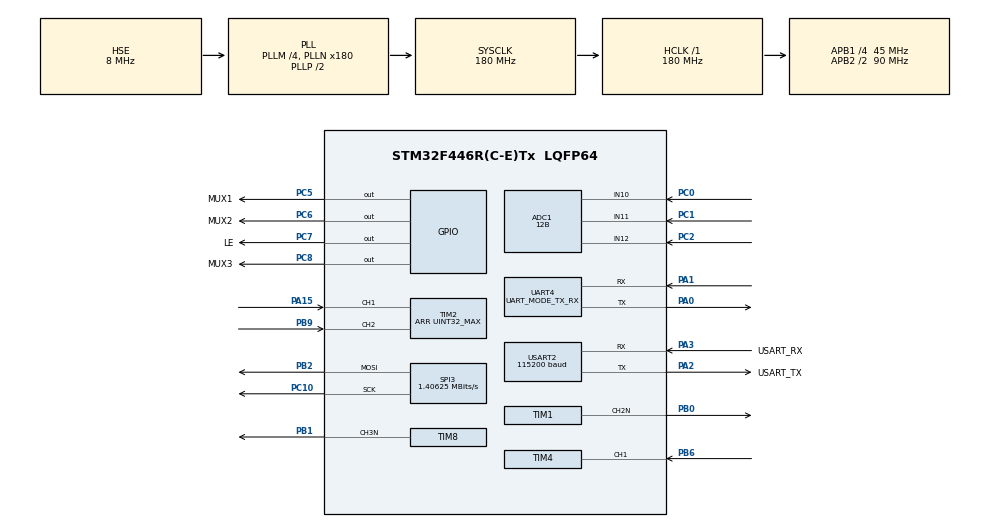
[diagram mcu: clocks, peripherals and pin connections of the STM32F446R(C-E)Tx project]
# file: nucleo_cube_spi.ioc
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ADC1.Channel-12\#ChannelRegularConversion=ADC_CHANNEL_10
ADC1.Channel-15\#ChannelRegularConversion=ADC_CHANNEL_11
ADC1.Channel-16\#ChannelRegularConversion=ADC_CHANNEL_12
ADC1.ClockPrescaler=ADC_CLOCK_SYNC_PCLK_DIV4
ADC1.ContinuousConvMode=DISABLE
ADC1.DMAContinuousRequests=ENABLE
ADC1.DataAlign=ADC_DATAALIGN_RIGHT
ADC1.DiscontinuousConvMode=DISABLE
ADC1.EOCSelection=ADC_EOC_SEQ_CONV
ADC1.EnableAnalogWatchDog=false
ADC1.ExternalTrigConvEdge=ADC_EXTERNALTRIGCONVEDGE_NONE
ADC1.InjNumberOfConversion=0
ADC1.NbrOfConversion=3
ADC1.NbrOfConversionFlag=1
ADC1.Rank-12\#ChannelRegularConversion=1
ADC1.Rank-15\#ChannelRegularConversion=2
ADC1.Rank-16\#ChannelRegularConversion=3
ADC1.Resolution=ADC_RESOLUTION_12B
ADC1.SamplingTime-12\#ChannelRegularConversion=ADC_SAMPLETIME_15CYCLES
ADC1.SamplingTime-15\#ChannelRegularConversion=ADC_SAMPLETIME_15CYCLES
ADC1.SamplingTime-16\#ChannelRegularConversion=ADC_SAMPLETIME_15CYCLES
ADC1.ScanConvMode=ENABLE
ADC1.master=1
Dma.ADC1.1.Direction=DMA_PERIPH_TO_MEMORY
Dma.ADC1.1.FIFOMode=DMA_FIFOMODE_DISABLE
Dma.ADC1.1.Instance=DMA2_Stream0
Dma.ADC1.1.MemDataAlignment=DMA_MDATAALIGN_HALFWORD
Dma.ADC1.1.MemInc=DMA_MINC_ENABLE
Dma.ADC1.1.Mode=DMA_CIRCULAR
Dma.ADC1.1.PeriphDataAlignment=DMA_PDATAALIGN_HALFWORD
Dma.ADC1.1.PeriphInc=DMA_PINC_DISABLE
Dma.ADC1.1.Priority=DMA_PRIORITY_LOW
Dma.Request0=UART4_RX
Dma.Request1=ADC1
Dma.UART4_RX.0.Direction=DMA_PERIPH_TO_MEMORY
Dma.UART4_RX.0.FIFOMode=DMA_FIFOMODE_DISABLE
Dma.UART4_RX.0.Instance=DMA1_Stream2
Dma.UART4_RX.0.MemDataAlignment=DMA_MDATAALIGN_BYTE
Dma.UART4_RX.0.MemInc=DMA_MINC_ENABLE
Dma.UART4_RX.0.Mode=DMA_CIRCULAR
Dma.UART4_RX.0.PeriphDataAlignment=DMA_PDATAALIGN_BYTE
Dma.UART4_RX.0.PeriphInc=DMA_PINC_DISABLE
Dma.UART4_RX.0.Priority=DMA_PRIORITY_LOW
Mcu.Family=STM32F4
Mcu.Name=STM32F446R(C-E)Tx
Mcu.Package=LQFP64
Mcu.UserConstants=UINT32_MAX,0xffffffff
NVIC.DMA1_Stream2_IRQn=true\:0\:0\:false\:false\:true
NVIC.DMA2_Stream0_IRQn=true\:0\:0\:false\:false\:true
NVIC.PriorityGroup=NVIC_PRIORITYGROUP_0
NVIC.TIM4_IRQn=true\:0\:0\:false\:false\:true
NVIC.TIM6_DAC_IRQn=true\:0\:0\:false\:false\:true
NVIC.TIM7_IRQn=true\:0\:0\:false\:false\:true
NVIC.UART4_IRQn=true\:0\:0\:false\:false\:true
NVIC.USART2_IRQn=true\:0\:0\:false\:false\:true
PA0-WKUP.Mode=Asynchronous
PA0-WKUP.Signal=UART4_TX
PA1.Mode=Asynchronous
PA1.Signal=UART4_RX
PA13.GPIO_Label=TMS
PA13.Signal=SYS_JTMS-SWDIO
PA14.GPIO_Label=TCK
PA14.Signal=SYS_JTCK-SWCLK
PA15.Signal=S_TIM2_CH1_ETR
PA2.GPIO_Label=USART_TX
PA2.Mode=Asynchronous
PA2.Signal=USART2_TX
PA3.GPIO_Label=USART_RX
PA3.Mode=Asynchronous
PA3.Signal=USART2_RX
PB0.Mode=PWM Generation2 CH2N
PB0.Signal=TIM1_CH2N
PB1.Mode=PWM Generation3 CH3N
PB1.Signal=TIM8_CH3N
PB2.Mode=TX_Only_Simplex_Unidirect_Master
PB2.Signal=SPI3_MOSI
PB3.GPIO_Label=SWO
PB3.Signal=SYS_JTDO-SWO
PB6.Signal=S_TIM4_CH1
PB9.Signal=S_TIM2_CH2
PC0.Signal=ADCx_IN10
PC1.Signal=ADCx_IN11
PC10.Mode=TX_Only_Simplex_Unidirect_Master
PC10.Signal=SPI3_SCK
PC14-OSC32_IN.Signal=RCC_OSC32_IN
PC15-OSC32_OUT.Signal=RCC_OSC32_OUT
PC2.Signal=ADCx_IN12
PC5.GPIO_Label=MUX1
PC5.Signal=GPIO_Output
PC6.GPIO_Label=MUX2
PC6.Signal=GPIO_Output
PC7.GPIO_Label=LE
PC7.Signal=GPIO_Output
PC8.GPIO_Label=MUX3
PC8.Signal=GPIO_Output
PH0-OSC_IN.Mode=HSE-External-Clock-Source
PH0-OSC_IN.Signal=RCC_OSC_IN
PH1-OSC_OUT.Mode=HSE-External-Clock-Source
PH1-OSC_OUT.Signal=RCC_OSC_OUT
ProjectManager.HeapSize=0x200
ProjectManager.StackSize=0x400
ProjectManager.TargetToolchain=SW4STM32
RCC.AHBFreq_Value=180000000
RCC.APB1CLKDivider=RCC_HCLK_DIV4
RCC.APB1Freq_Value=45000000
RCC.APB1TimFreq_Value=90000000
RCC.APB2CLKDivider=RCC_HCLK_DIV2
RCC.APB2Freq_Value=90000000
RCC.APB2TimFreq_Value=180000000
RCC.CortexFreq_Value=180000000
RCC.FLatency-AdvancedSettings=FLASH_LATENCY_5
RCC.HCLKFreq_Value=180000000
RCC.HSE_VALUE=8000000
RCC.HSI_VALUE=16000000
RCC.PLLM=4
RCC.PLLN=180
RCC.PLLSourceVirtual=RCC_PLLSOURCE_HSE
RCC.SYSCLKFreq_VALUE=180000000
RCC.SYSCLKSource=RCC_SYSCLKSOURCE_PLLCLK
RCC.USBFreq_Value=180000000
RCC.VCOOutputFreq_Value=360000000
SH.ADCx_IN10.0=ADC1_IN10,IN10
SH.ADCx_IN11.0=ADC1_IN11,IN11
SH.ADCx_IN12.0=ADC1_IN12,IN12
SH.S_TIM2_CH1_ETR.0=TIM2_CH1,Encoder_Interface
SH.S_TIM2_CH2.0=TIM2_CH2,Encoder_Interface
SH.S_TIM4_CH1.0=TIM4_CH1,Input_Capture1_from_TI1
SPI3.BaudRatePrescaler=SPI_BAUDRATEPRESCALER_32
SPI3.CalculateBaudRate=1.40625 MBits/s
SPI3.Mode=SPI_MODE_MASTER
TIM1.Channel-PWM\ Generation2\ CH2N=TIM_CHANNEL_2
TIM1.Period=64614
TIM1.Prescaler=38
TIM1.Pulse-PWM\ Generation2\ CH2N=7497
TIM2.EncoderMode=TIM_ENCODERMODE_TI12
TIM2.IC1Polarity=TIM_ICPOLARITY_RISING
TIM2.Period=UINT32_MAX
TIM4.ICPolarity_CH1=TIM_INPUTCHANNELPOLARITY_BOTHEDGE
TIM4.Period=64614
TIM4.Prescaler=38
TIM6.Period=2799
TIM6.Prescaler=8
TIM7.Period=9999
TIM7.Prescaler=89
TIM8.Channel-PWM\ Generation3\ CH3N=TIM_CHANNEL_3
TIM8.Period=64614
TIM8.Prescaler=38
TIM8.Pulse-PWM\ Generation3\ CH3N=6932
UART4.Mode=UART_MODE_TX_RX
USART2.BaudRate=115200
VP_TIM6_VS_ClockSourceINT.Mode=Enable_Timer
VP_TIM7_VS_ClockSourceINT.Mode=Enable_Timer
board=NUCLEO-F446RE

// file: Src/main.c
/**
  ******************************************************************************
  * File Name          : main.c
  * Description        : Main program body
  ******************************************************************************
  *
  * COPYRIGHT(c) 2017 STMicroelectronics
  *
  * Redistribution and use in source and binary forms, with or without modification,
  * are permitted provided that the following conditions are met:
  *   1. Redistributions of source code must retain the above copyright notice,
  *      this list of conditions and the following disclaimer.
  *   2. Redistributions in binary form must reproduce the above copyright notice,
  *      this list of conditions and the following disclaimer in the documentation
  *      and/or other materials provided with the distribution.
  *   3. Neither the name of STMicroelectronics nor the names of its contributors
  *      may be used to endorse or promote products derived from this software
  *      without specific prior written permission.
  *
  * THIS SOFTWARE IS PROVIDED BY THE COPYRIGHT HOLDERS AND CONTRIBUTORS "AS IS"
  * AND ANY EXPRESS OR IMPLIED WARRANTIES, INCLUDING, BUT NOT LIMITED TO, THE
  * IMPLIED WARRANTIES OF MERCHANTABILITY AND FITNESS FOR A PARTICULAR PURPOSE ARE
  * DISCLAIMED. IN NO EVENT SHALL THE COPYRIGHT HOLDER OR CONTRIBUTORS BE LIABLE
  * FOR ANY DIRECT, INDIRECT, INCIDENTAL, SPECIAL, EXEMPLARY, OR CONSEQUENTIAL
  * DAMAGES (INCLUDING, BUT NOT LIMITED TO, PROCUREMENT OF SUBSTITUTE GOODS OR
  * SERVICES; LOSS OF USE, DATA, OR PROFITS; OR BUSINESS INTERRUPTION) HOWEVER
  * CAUSED AND ON ANY THEORY OF LIABILITY, WHETHER IN CONTRACT, STRICT LIABILITY,
  * OR TORT (INCLUDING NEGLIGENCE OR OTHERWISE) ARISING IN ANY WAY OUT OF THE USE
  * OF THIS SOFTWARE, EVEN IF ADVISED OF THE POSSIBILITY OF SUCH DAMAGE.
  *
  ******************************************************************************
  */
#include "main.h"
#include "stm32f4xx_hal.h"
#include "adc.h"
#include "dma.h"
#include "spi.h"
#include "tim.h"
#include "usart.h"
#include "gpio.h"

/* USER CODE BEGIN Includes */
#include "stdbool.h"
#include "stm32f4xx_hal_tim.h"
#include "inttypes.h"
//MotorPWM
#define MOTOR_0MPERS 6932
#define MOTOR_1P7MPERS 7362
#define MOTOR_3MPERS 7578 //Nem ennyi
#define MOTOR_6MPERS 8224 //Nem biztos h ennyi

#define SEB_LASSU_DEFAULT 700//1100
#define SEB_GYORS_DEFAULT 1200//3300

//Szurok
#define FILTER_DEPTH 16
#define VELOCITY_FILTER_DEPTH 4
//Szervo
#define SERVO_KOZEP 6914
#define SERVO_BAL 5644//5944
#define SERVO_JOBB 7883
//P szab
#define KC 1

//Szervo ertekek:
/*Elozo meres: 6000, 7497, 9000
 Jelenlegi: 5829, 6766, 7638*/

//PD szab
#define L_FROM_ROTATION_AXIS 220 //Vonalszenzor tavolsaga a forgastengelytol [mm]
#define TD_COEFF_FAST 105		 //Coefficiens 10-szerese a TD-hez
#define TD_COEFF_SLOW 20
#define KD_FAST -2				//Kd 10-szerese a szabalyzohoz
#define KD_SLOW -13//-11
#define TSRECIP	333				//Ts mintavetelezesi ido reciproka

//Linetype defines
#define NOLINE 0
#define ONELINE 1
#define TWOLINE 2
#define THREELINE 3
#define LINERROR 10
//Lineobject observing state defines
#define NORMAL 0
#define UNKNOWN 1
#define END_FAST 2
#define ONESTRIPE 3
#define TWOSTRIPE 4
#define START_FAST 5
//PD parameter pair identifiers
#define PD_FAST 1
#define PD_SLOW 2
//velocity defines
#define FAST 10
#define SLOW 20

/* USER CODE END Includes */

/* USER CODE BEGIN PV */
/* Private variables ---------------------------------------------------------*/
 volatile bool adcvalid=false;
 volatile bool adcwaitdone=false;
 volatile bool dovelocitymeasurement=false;
 volatile uint32_t actualencoderval=0;
 volatile uint32_t actualmotorinput=0;
 volatile uint32_t previousmotorinput=0;
 volatile bool endrxuart=false;
 volatile uint32_t pData[2]={0,0};
 uint16_t adcmeasuredvalues[3];
 uint32_t WMAfilterarray[FILTER_DEPTH]; //vonalpoziciohoz
 //PD parameterei
uint32_t SEB_LASSU=SEB_LASSU_DEFAULT;
uint32_t SEB_GYORS=SEB_GYORS_DEFAULT;
 int32_t KD=-11;
 int32_t TD_COEFF=20;
 uint8_t velocity_state;
 uint8_t space=32;
 uint8_t endline=10;
 uint8_t tab = 9;
 uint8_t CR = 13;
 uint32_t timestamp=0;

 /*Encoder vars*/
 uint32_t encoder1;
 HAL_TIM_StateTypeDef state;
 uint32_t encoderprev=0;
 int32_t encoderdiff;
 uint32_t dir;
 int32_t velocity;
 int32_t filteredvelocity;
 int32_t filteredvelocitydiff;
 int32_t velocityarray[VELOCITY_FILTER_DEPTH]={0,0,0,0}; //Kis csalas, akkor jo, ha VELOCITY_FILTER_DEPTH = 4
 uint32_t velocityabs;

/* USER CODE END PV */

void SystemClock_Config(void);
void Error_Handler(void);

/* USER CODE BEGIN PFP */
/* Private function prototypes -----------------------------------------------*/
uint8_t send8bit_to_uart(UART_HandleTypeDef* huart, uint8_t* data,uint32_t Timeout);
uint8_t send32bitdecimal_to_uart(UART_HandleTypeDef* huart, uint32_t* data,uint32_t Timeout);
uint8_t send16bitdecimal_to_uart(UART_HandleTypeDef* huart, uint16_t* data,uint32_t Timeout);
uint8_t send8bitdecimal_to_uart(UART_HandleTypeDef* huart, uint8_t* data,uint32_t Timeout);
uint8_t sendadcvals_to_uart(UART_HandleTypeDef* huart, uint16_t* data1,uint16_t* data2, uint16_t* data3,uint32_t Timeout);
uint8_t sendlineregisters_to_uart(UART_HandleTypeDef* huart, uint8_t* data1,uint8_t* data2, uint8_t* data3,uint32_t Timeout);
void medianfilterW3(uint16_t* data1,uint16_t* data2, uint16_t* data3);
uint32_t getposition(uint32_t* positionreg, uint16_t* adcfiltervals1, uint16_t* adcfiltervals2, uint16_t* adcfiltervals3);
uint8_t getlinetype(uint8_t* linetype, uint16_t* adcvals1, uint16_t* adcvals2, uint16_t* adcvals3, uint16_t* threshold);
void WMAfilter(int32_t* filteredval, int32_t* newelement, int32_t* array, uint32_t filter_depth);
void initWMAfilterarray();
uint8_t handleWMAfilter(uint32_t* filteredposition, uint32_t* newelement);
void szervoPszabalyozo(int16_t vonalpozicio);
void szervoPDszabalyozo(uint32_t vonalpozicio, int32_t sebesseg);
void sebessegto(int32_t mmpersec);
void setPD(uint32_t PD_type);
uint32_t reverse_byte_order_32(uint32_t value);
void dili_telemetria(UART_HandleTypeDef *huart, uint32_t linestatus, uint32_t velocitystatus, uint32_t position, uint32_t timestamp, int32_t x, int32_t v, int32_t a,  uint32_t Timeout);
void handle_QT_command(uint32_t* pData);

/* USER CODE END PFP */

/* USER CODE BEGIN 0 */
void HAL_UART_RxCpltCallback(UART_HandleTypeDef *huart)
{
	if(huart->Instance == UART4)
	{
		//HAL_UART_Transmit(&huart4,pData, sizeof(char), 1000 ); teszthez kellett
		endrxuart=true; //telemetria adatok fogadasahoz callback IT
	}

}
void HAL_ADC_ConvCpltCallback(ADC_HandleTypeDef* hadc)
{
	adcvalid = true;
}

void HAL_TIM_PeriodElapsedCallback(TIM_HandleTypeDef* htim)
{
	/*if (htim->Instance == TIM6)
	{
		adcwaitdone = true;
	}*/
	if(htim->Instance == TIM7)
	{
		timestamp++;
		actualencoderval=HAL_TIM_ReadCapturedValue(&htim2, TIM_CHANNEL_1);
		dovelocitymeasurement=true;
	}
}
void HAL_TIM_IC_CaptureCallback(TIM_HandleTypeDef* htim)
{
	if (htim->Instance == TIM4)
	{
		previousmotorinput = actualmotorinput;
		actualmotorinput = HAL_TIM_ReadCapturedValue(&htim4,TIM_CHANNEL_1);
		__HAL_TIM_SET_COUNTER(&htim4,0);
	}
}

/* USER CODE END 0 */

int main(void)
{

  /* MCU Configuration----------------------------------------------------------*/

  /* Reset of all peripherals, Initializes the Flash interface and the Systick. */
  HAL_Init();

  /* Configure the system clock */
  SystemClock_Config();

  /* Initialize all configured peripherals */
  MX_GPIO_Init();
  MX_DMA_Init();
  MX_ADC1_Init();
  MX_USART2_UART_Init();
  MX_SPI3_Init();
  MX_TIM1_Init();
  MX_TIM2_Init();
  MX_TIM6_Init();
  MX_TIM7_Init();
  MX_UART4_Init();
  MX_TIM8_Init();
  MX_TIM4_Init();

  /* USER CODE BEGIN 2 */

  /*Initialize variables for main()*/
  uint8_t stop = 0;
  uint8_t stopm1 = 0;
  uint8_t spidata = 0b00000010;
  uint8_t endline=10;
  uint8_t CR=13;
  uint8_t tab=9;
  uint8_t space=32;
  uint8_t minusz=45;
  uint8_t line_register1=0;			//Tarolja hogy hol erzekelnek vonalat a TCRT-k
  uint8_t line_register2=0;
  uint8_t line_register3=0;
  uint8_t line_count=0;				//Szamolja hogy hany TCRT erzekel vonalat
  uint8_t linetype;
  uint16_t adcvalregister1[8];
  uint16_t adcvalregister2[8];
  uint16_t adcvalregister3[8];
  uint16_t adcfilterregister1[8] = {0,0,0,0,0,0,0,0};
  uint16_t adcfilterregister2[8] = {0,0,0,0,0,0,0,0};
  uint16_t adcfilterregister3[8] = {0,0,0,0,0,0,0,0};
  uint16_t threshold=1200; //TODO 1000-1100? //Vedekezni kell a koszok ellen, ezert nagyobb
  uint16_t thresholdforlinetype=800; //A vonalakat viszont eszre kell venni
  uint8_t i=0;
  uint32_t position=0;
  uint32_t filteredposition=0;
  uint32_t prevfilteredposition=0;
  int32_t Pszabalyozopozicio=0;
  //uint32_t timestamp=0;
  uint8_t string[20]={0,0,0,0,0,0,0,0,0,0,0,0,0,0,0,0,0,0,0,0};
  int32_t motorpulsePWM;
  initWMAfilterarray();
  HAL_TIM_Base_Start_IT(&htim7);
  HAL_TIM_Encoder_Start(&htim2, TIM_CHANNEL_1);
  HAL_TIM_IC_Start_IT(&htim4,TIM_CHANNEL_1);
  HAL_TIMEx_PWMN_Start(&htim1, TIM_CHANNEL_2);
  HAL_TIMEx_PWMN_Start(&htim8, TIM_CHANNEL_3);
  HAL_Delay(5000);
  //sebessegto((int32_t)(SEB_LASSU+600));
  //velocity_state=SLOW;
  //__HAL_TIM_SET_COMPARE(&htim1,TIM_CHANNEL_2 , SERVO_KOZEP);
  //HAL_TIM_PWM_Start(&htim1,TIM_CHANNEL_2);

  /* USER CODE END 2 */

  /* Infinite loop */
  /* USER CODE BEGIN WHILE */
  //HAL_UART_Receive_DMA(&huart4, (uint8_t*)pData, (2*sizeof(uint32_t)));	//Telemetria parancsok fogadása - konvencio: 2db uint32-t kapunk, elso: command ID, masodik: adat, ha van

  while (1)
  {
  /* USER CODE END WHILE */

  /* USER CODE BEGIN 3 */
	  /*Deadman emergency brake*/
	  if(((actualmotorinput < previousmotorinput) ? actualmotorinput : previousmotorinput) < 4000)
	  {
		  stop = 1;
	  }
	  else
	  {
		  stop = 0;
	  }
	  /*Encoder test*/

	  /*HAL_TIM_Encoder_Start(&htim2, TIM_CHANNEL_1);
	  while(1)
	  {
		  state = HAL_TIM_Encoder_GetState(&htim2);

		  encoder1 = HAL_TIM_ReadCapturedValue(&htim2, TIM_CHANNEL_1);
		  dir = __HAL_TIM_DIRECTION_STATUS(&htim2);
		  encoderdiff=encoder1-encoderprev;
		  velocity=((encoderdiff*1000)/743); //v[mm/s]
		  encoderprev=encoder1;
		  sprintf(string, "%"PRId32 "\n\r", velocity);
		  HAL_UART_Transmit(&huart2, string, sizeof(string), 10000);
		  HAL_Delay(100);
	  }*/

	  /*SPI communication*/
	  /*If only 3 sequence is sent, then something is wrong with the bits (not the good bits are received by the LED drivers.
	   Dont know, whats the problem.*/

	  /*for(int q=0; q<3; q++)
	  {
		  HAL_SPI_Transmit(&hspi3,&spidata,1,100);
	  }*/

	  /*Valami nem oke a LE outputtal. Ha kiveszem az utolso 2 hal-delay(1)-et, akkor nem vilagit az uccso(elso) TCRT. Ha az egyik bent van a kodban, akkor hol vilaghit, hol nem. Ha mindketto akkor ok.*/
	  /*Elobbi megoldottnak tunik*/
	  /*LE signal output*/
	  //HAL_GPIO_WritePin(LE_GPIO_Port,LE_Pin,GPIO_PIN_SET);
	  //HAL_GPIO_WritePin(LE_GPIO_Port,LE_Pin,GPIO_PIN_RESET);

	  /*adcwaitdone=false;
	  __HAL_TIM_SET_COUNTER(&htim6, 0);
	  HAL_TIM_Base_Start_IT(&htim6);*/
	  /*TCRT:280usec varakozas kezdete---------------------------------------------------------------------*/

	  //if(spidata==0b00000001)
	  //{
		  // medianfilterW3(adcvalregister1, adcvalregister2, adcvalregister3); //kicsit thresholdal jo lehet
		  //getlinetype(&linetype, adcvalregister1, adcvalregister2, adcvalregister3, &thresholdforlinetype);//-----------------------------------

		  //sendlineregisters_to_uart(&huart2, &line_register1, &line_register2, &line_register3, 1000);
		  //sendadcvals_to_uart(&huart2, adcvalregister1, adcvalregister2, adcvalregister3, 1000);

		  // medianfilterW3(adcfilterregister1, adcfilterregister2, adcfilterregister3); //Medianhoz kisebb threshold
		  //getposition(&position, adcfilterregister1, adcfilterregister2, adcfilterregister3);
		 /* HAL_UART_Transmit(&huart4,&endline, sizeof(uint8_t), 100000);
		  HAL_UART_Transmit(&huart4,&CR, sizeof(uint8_t), 100000);*/
		  //send8bitdecimal_to_uart(&huart2, &linetype, 1000);
		//	  HAL_UART_Transmit(&huart2,&endline, sizeof(uint8_t), 100000);
		//	  HAL_UART_Transmit(&huart2,&CR, sizeof(uint8_t), 100000);
		 // sendadcvals_to_uart(&huart2, adcfilterregister1, adcfilterregister2, adcfilterregister3, 10000);

		  //if(!position) //Szaturacional==vonalelhagyasnal uccso erteket jegyezze meg.
			  //position=prevfilteredposition;
		  //else
			  //prevfilteredposition=position;

		  //handleWMAfilter(&filteredposition, &position);				//pozicio idobeli szurese

		  if(dovelocitymeasurement) //v=[mm/s], delta t = 10ms
		  {//valami szamitas hibas, wma filter furi.
			  state = HAL_TIM_Encoder_GetState(&htim2);
			  if(state==HAL_TIM_STATE_READY)
			  {
				  //dir = __HAL_TIM_DIRECTION_STATUS(&htim2);
				  encoder1=actualencoderval;
				  encoderdiff=encoder1-encoderprev;
				  //velocity=((encoderdiff*10000)/743); //v[mm/s]
				  //filteredvelocitydiff=-filteredvelocity;
				  //WMAfilter(&filteredvelocity, &velocity, velocityarray, VELOCITY_FILTER_DEPTH);
				  /*if(filteredvelocity>=0)
					  velocityabs = filteredvelocity;
				  else
					  velocityabs = -filteredvelocity;*/
				  encoderprev=encoder1;
				  //filteredvelocitydiff+=filteredvelocity;
				/*  for(int q=0; q<20; q++)
					  string[q]=0;
				  sprintf(string, "%"PRId32 "\t\n\r", filteredvelocity);
				  HAL_UART_Transmit(&huart2, string, sizeof(string), 10000);
				  HAL_UART_Transmit(&huart4, string, sizeof(string), 10000);*/
				  //HAL_UART_Transmit(&huart2,&endline, sizeof(uint8_t), 100000);
				  //HAL_UART_Transmit(&huart2,&CR, sizeof(uint8_t), 100000);
			  }
			  else
			  {
				  //error handling...
			  }
			  dovelocitymeasurement=false;
			  //timestamp++;
			  if(timestamp == 1000)
			  {
				motorpulsePWM = 6932;
				if (!stop)
					__HAL_TIM_SET_COMPARE(&htim8, TIM_CHANNEL_3, (motorpulsePWM));
			  }
			  if(timestamp == 2000)
			  {
				motorpulsePWM = 7032;
				if (!stop)
					__HAL_TIM_SET_COMPARE(&htim8, TIM_CHANNEL_3, (motorpulsePWM));
			  }
			  if(timestamp == 3000)
			  {
				motorpulsePWM = 6932;
				if (!stop)
					__HAL_TIM_SET_COMPARE(&htim8, TIM_CHANNEL_3, (motorpulsePWM));
			  }
			  if(timestamp == 4000)
			  {
			  motorpulsePWM = 7132;
			  if (!stop)
			  	__HAL_TIM_SET_COMPARE(&htim8, TIM_CHANNEL_3, (motorpulsePWM));
			  }
			  if(timestamp == 5000)
			  {
			  motorpulsePWM = 6932;
			  if (!stop)
			  	__HAL_TIM_SET_COMPARE(&htim8, TIM_CHANNEL_3, (motorpulsePWM));
			  }
			  if(timestamp == 6000)
			  {
			  motorpulsePWM = 7232;
			  if (!stop)
			  	__HAL_TIM_SET_COMPARE(&htim8, TIM_CHANNEL_3, (motorpulsePWM));
			  }
			  if(timestamp == 7000)
			  {
			  motorpulsePWM = 6932;
			  if (!stop)
			  	__HAL_TIM_SET_COMPARE(&htim8, TIM_CHANNEL_3, (motorpulsePWM));
			  }
			  if(timestamp == 8000)
			  {
			  motorpulsePWM = 7332;
			  if (!stop)
			  	__HAL_TIM_SET_COMPARE(&htim8, TIM_CHANNEL_3, (motorpulsePWM));
			  }
			  if(timestamp == 9000)
			  {
			  motorpulsePWM = 6932;
			  if (!stop)
			  	__HAL_TIM_SET_COMPARE(&htim8, TIM_CHANNEL_3, (motorpulsePWM));
			  }
			  if(timestamp == 10000)
			  {
			  motorpulsePWM = 7432;
			  if (!stop)
			  	__HAL_TIM_SET_COMPARE(&htim8, TIM_CHANNEL_3, (motorpulsePWM));
			  }
			  if(timestamp == 11000)
			  {
			  motorpulsePWM = 6932;
			  if (!stop)
			  	__HAL_TIM_SET_COMPARE(&htim8, TIM_CHANNEL_3, (motorpulsePWM));
			  }
			  if(timestamp == 12000)
			  {
			  motorpulsePWM = 7532;
			  if (!stop)
			  	__HAL_TIM_SET_COMPARE(&htim8, TIM_CHANNEL_3, (motorpulsePWM));
			  }
			  if(timestamp == 13000)
			  {
			  motorpulsePWM = 6932;
			  if (!stop)
			  	__HAL_TIM_SET_COMPARE(&htim8, TIM_CHANNEL_3, (motorpulsePWM));
			  }
			  if(timestamp == 14000)
			  {
			  motorpulsePWM = 7632;
			  if (!stop)
			  	__HAL_TIM_SET_COMPARE(&htim8, TIM_CHANNEL_3, (motorpulsePWM));
			  }
			  if(timestamp == 15000)
			  {
			  motorpulsePWM = 6932;
			  if (!stop)
			  	__HAL_TIM_SET_COMPARE(&htim8, TIM_CHANNEL_3, (motorpulsePWM));
			  }
			  if(timestamp == 16000)
			  {
			  motorpulsePWM = 7732;
			  if (!stop)
			  	__HAL_TIM_SET_COMPARE(&htim8, TIM_CHANNEL_3, (motorpulsePWM));
			  }
			  if(timestamp == 17000)
			  {
			  motorpulsePWM = 6932;
			  if (!stop)
			  	__HAL_TIM_SET_COMPARE(&htim8, TIM_CHANNEL_3, (motorpulsePWM));
			  }
			  if(timestamp == 18000)
			  {
			  motorpulsePWM = 7832;
			  if (!stop)
			  	__HAL_TIM_SET_COMPARE(&htim8, TIM_CHANNEL_3, (motorpulsePWM));
			  }
			  if(timestamp == 19000)
			  {
			  motorpulsePWM = 6932;
			  if (!stop)
			  	__HAL_TIM_SET_COMPARE(&htim8, TIM_CHANNEL_3, (motorpulsePWM));
			  }
			  if(timestamp == 20000)
			  {
			  motorpulsePWM = 7932;
			  if (!stop)
			  	__HAL_TIM_SET_COMPARE(&htim8, TIM_CHANNEL_3, (motorpulsePWM));
			  }
			  if(timestamp == 21000)
			  {
			  motorpulsePWM = 6932;
			  if (!stop)
			  	__HAL_TIM_SET_COMPARE(&htim8, TIM_CHANNEL_3, (motorpulsePWM));
			  }
			  if(timestamp == 22000)
			  {
			  motorpulsePWM = 8032;
			  if (!stop)
			  	__HAL_TIM_SET_COMPARE(&htim8, TIM_CHANNEL_3, (motorpulsePWM));
			  }
			  if(timestamp == 23000)
			  {
			  motorpulsePWM = 6932;
			  if (!stop)
			  	__HAL_TIM_SET_COMPARE(&htim8, TIM_CHANNEL_3, (motorpulsePWM));
			  }
			  if(timestamp == 24000)
			  {
			  motorpulsePWM = 8132;
			  if (!stop)
			  	__HAL_TIM_SET_COMPARE(&htim8, TIM_CHANNEL_3, (motorpulsePWM));
			  }
			  if(timestamp == 25000)
			  {
			  motorpulsePWM = 6932;
			  if (!stop)
			  	__HAL_TIM_SET_COMPARE(&htim8, TIM_CHANNEL_3, (motorpulsePWM));
			  }
			  if(timestamp == 26000)
			  {
			  motorpulsePWM = 8232;
			  if (!stop)
			  	__HAL_TIM_SET_COMPARE(&htim8, TIM_CHANNEL_3, (motorpulsePWM));
			  }
			  if(timestamp == 27000)
			  {
			  motorpulsePWM = 6932;
			  if (!stop)
			  	__HAL_TIM_SET_COMPARE(&htim8, TIM_CHANNEL_3, (motorpulsePWM));
			  }
			  if(timestamp == 28000)
			  {
			  motorpulsePWM = 8332;
			  if (!stop)
			  	__HAL_TIM_SET_COMPARE(&htim8, TIM_CHANNEL_3, (motorpulsePWM));
			  }
			  if(timestamp == 29000)
			  {
			  motorpulsePWM = 6932;
			  if (!stop)
			  	__HAL_TIM_SET_COMPARE(&htim8, TIM_CHANNEL_3, (motorpulsePWM));
			  }
			  if(timestamp == 30000)
			  {
			  motorpulsePWM = 8432;
			  if (!stop)
			  	__HAL_TIM_SET_COMPARE(&htim8, TIM_CHANNEL_3, (motorpulsePWM));
			  }
			  if(timestamp == 31000)
			  {
			  motorpulsePWM = 6932;
			  if (!stop)
			  	__HAL_TIM_SET_COMPARE(&htim8, TIM_CHANNEL_3, (motorpulsePWM));
			  }
			  if(timestamp == 32000)
			  {
			  motorpulsePWM = 8532;
			  if (!stop)
			  	__HAL_TIM_SET_COMPARE(&htim8, TIM_CHANNEL_3, (motorpulsePWM));
			  }
			  if(timestamp == 33000)
			  {
			  motorpulsePWM = 6932;
			  if (!stop)
			  	__HAL_TIM_SET_COMPARE(&htim8, TIM_CHANNEL_3, (motorpulsePWM));
			  }
			  if(timestamp == 34000)
			  {
			  motorpulsePWM = 8632;
			  if (!stop)
			  	__HAL_TIM_SET_COMPARE(&htim8, TIM_CHANNEL_3, (motorpulsePWM));
			  }
			  if(timestamp == 35000)
			  {
			  motorpulsePWM = 6932;
			  if (!stop)
			  	__HAL_TIM_SET_COMPARE(&htim8, TIM_CHANNEL_3, (motorpulsePWM));
			  }
			  if(timestamp == 36000)
			  {
			  motorpulsePWM = 8732;
			  if (!stop)
			  	__HAL_TIM_SET_COMPARE(&htim8, TIM_CHANNEL_3, (motorpulsePWM));
			  }
			  if(timestamp == 37000)
			  {
			  motorpulsePWM = 6932;
			  if (!stop)
			  	__HAL_TIM_SET_COMPARE(&htim8, TIM_CHANNEL_3, (motorpulsePWM));
			  }
			  if(timestamp == 38000)
			  {
			  motorpulsePWM = 8832;
			  if (!stop)
			  	__HAL_TIM_SET_COMPARE(&htim8, TIM_CHANNEL_3, (motorpulsePWM));
			  }
			  if(timestamp == 39000)
			  {
			  motorpulsePWM = 6932;
			  if (!stop)
			  	__HAL_TIM_SET_COMPARE(&htim8, TIM_CHANNEL_3, (motorpulsePWM));
			  }
			  if(timestamp == 40000)
			  {
			  motorpulsePWM = 8932;
			  if (!stop)
			  	__HAL_TIM_SET_COMPARE(&htim8, TIM_CHANNEL_3, (motorpulsePWM));
			  }
			  if(timestamp == 41000)
			  {
			  motorpulsePWM = 6932;
			  if (!stop)
			  	__HAL_TIM_SET_COMPARE(&htim8, TIM_CHANNEL_3, (motorpulsePWM));
			  }
			  if(timestamp == 42000)
			  {
			  motorpulsePWM = 9032;
			  if (!stop)
			  	__HAL_TIM_SET_COMPARE(&htim8, TIM_CHANNEL_3, (motorpulsePWM));
			  }
			  if(timestamp == 43000)
			  {
			  motorpulsePWM = 6932;
			  if (!stop)
			  	__HAL_TIM_SET_COMPARE(&htim8, TIM_CHANNEL_3, (motorpulsePWM));
			  }
			  if(timestamp == 44000)
			  {
			  motorpulsePWM = 9132;
			  if (!stop)
			  	__HAL_TIM_SET_COMPARE(&htim8, TIM_CHANNEL_3, (motorpulsePWM));
			  }
			  if(timestamp == 45000)
			  {
			  motorpulsePWM = 6932;
			  if (!stop)
			  	__HAL_TIM_SET_COMPARE(&htim8, TIM_CHANNEL_3, (motorpulsePWM));
			  }
			  if(timestamp == 46000)
			  {
			  motorpulsePWM = 9232;
			  if (!stop)
			  	__HAL_TIM_SET_COMPARE(&htim8, TIM_CHANNEL_3, (motorpulsePWM));
			  }
			  if(timestamp == 47000)
			  {
			  motorpulsePWM = 6932;
			  if (!stop)
			  	__HAL_TIM_SET_COMPARE(&htim8, TIM_CHANNEL_3, (motorpulsePWM));
			  }
			  if(timestamp == 48000)
			  {
			  motorpulsePWM = 9332;
			  if (!stop)
			  	__HAL_TIM_SET_COMPARE(&htim8, TIM_CHANNEL_3, (motorpulsePWM));
			  }
			  if(timestamp == 49000)
			  {
			  motorpulsePWM = 6932;
			  if (!stop)
			  	__HAL_TIM_SET_COMPARE(&htim8, TIM_CHANNEL_3, (motorpulsePWM));
			  }
			  if(timestamp == 50000)
			  {
			  motorpulsePWM = 9432;
			  if (!stop)
			  	__HAL_TIM_SET_COMPARE(&htim8, TIM_CHANNEL_3, (motorpulsePWM));
			  }
			  if(timestamp == 51000)
			  {
			  motorpulsePWM = 6932;
			  if (!stop)
			  	__HAL_TIM_SET_COMPARE(&htim8, TIM_CHANNEL_3, (motorpulsePWM));
			  }
			  if(timestamp == 52000)
			  {
			  motorpulsePWM = 9532;
			  if (!stop)
			  	__HAL_TIM_SET_COMPARE(&htim8, TIM_CHANNEL_3, (motorpulsePWM));
			  }
			  if(timestamp == 53000)
			  {
			  motorpulsePWM = 6932;
			  if (!stop)
			  	__HAL_TIM_SET_COMPARE(&htim8, TIM_CHANNEL_3, (motorpulsePWM));
			  }
			  if(timestamp == 54000)
			  {
			  motorpulsePWM = 9632;
			  if (!stop)
			  	__HAL_TIM_SET_COMPARE(&htim8, TIM_CHANNEL_3, (motorpulsePWM));
			  }
			  if(timestamp == 55000)
			  {
			  motorpulsePWM = 6932;
			  if (!stop)
			  	__HAL_TIM_SET_COMPARE(&htim8, TIM_CHANNEL_3, (motorpulsePWM));
			  }
			  if(timestamp == 56000)
			  {
			  motorpulsePWM = 9732;
			  if (!stop)
			  	__HAL_TIM_SET_COMPARE(&htim8, TIM_CHANNEL_3, (motorpulsePWM));
			  }
			  if(timestamp == 57000)
			  {
			  motorpulsePWM = 6932;
			  if (!stop)
			  	__HAL_TIM_SET_COMPARE(&htim8, TIM_CHANNEL_3, (motorpulsePWM));
			  }
			  if(timestamp == 58000)
			  {
			  motorpulsePWM = 9832;
			  if (!stop)
			  	__HAL_TIM_SET_COMPARE(&htim8, TIM_CHANNEL_3, (motorpulsePWM));
			  }
			  if(timestamp == 59000)
			  {
			  motorpulsePWM = 6932;
			  if (!stop)
			  	__HAL_TIM_SET_COMPARE(&htim8, TIM_CHANNEL_3, (motorpulsePWM));
			  }
			  if(timestamp == 60000)
			  {
			  motorpulsePWM = 9932;
			  if (!stop)
			  	__HAL_TIM_SET_COMPARE(&htim8, TIM_CHANNEL_3, (motorpulsePWM));
			  }
			  if(timestamp == 61000)
			  {
			  motorpulsePWM = 6932;
			  if (!stop)
			  	__HAL_TIM_SET_COMPARE(&htim8, TIM_CHANNEL_3, (motorpulsePWM));
			  }
			  if(timestamp == 62000)
			  {
			  motorpulsePWM = 10032;
			  if (!stop)
			  	__HAL_TIM_SET_COMPARE(&htim8, TIM_CHANNEL_3, (motorpulsePWM));
			  }
			  if(timestamp == 63000)
			  {
			  motorpulsePWM = 6932;
			  if (!stop)
			  	__HAL_TIM_SET_COMPARE(&htim8, TIM_CHANNEL_3, (motorpulsePWM));
			  }
			  sprintf(string,"\0\0\0\0\0\0\0\0\0\0\0\0\0\0\0\0\0\0\0\0");
			  sprintf(string,"%d %d\n\r",motorpulsePWM,encoderdiff);
			  HAL_UART_Transmit(&huart4, &string, sizeof(string)*sizeof(uint8_t), 10000);
			  /*if((timestamp%100)==0)
			  {
				  //kesobb ha lesz ido atirni, hogy pointereket kapjon a fg(), hatha ugy gyorsabb, mert az uart sok idot elvesz
				  dili_telemetria(&huart4, (uint32_t) linetype, (uint32_t) velocity_state, filteredposition, timestamp, (int32_t) actualencoderval, (int32_t) filteredvelocity, (int32_t) filteredvelocitydiff*100,  1000);
			  }*/
		  }
		  if (stop != stopm1)
		  {
			  if (!stop)
				  __HAL_TIM_SET_COMPARE(&htim8, TIM_CHANNEL_3, (motorpulsePWM));
			  else if (encoderdiff > 10)
				  __HAL_TIM_SET_COMPARE(&htim8, TIM_CHANNEL_3, (4000));
			  else
				  __HAL_TIM_SET_COMPARE(&htim8, TIM_CHANNEL_3, (6932));
			  stopm1 = stop;
		  }

		  /*if (endrxuart) 	//uart command lekezelese
		  {
			  handle_QT_command(pData);
			  endrxuart=false;
		  }*/
		 /* sebessegto(1000);*///-------------------------------------------------------------

		//  Pszabalyozopozicio=(((filteredposition-100)*140)/2300)-70;	//2400 100 tartomany (filteredposition ertektartomanya) illesztese a -70 70 tartomanyhoz (Pszab bemeneti ertektartomany)
		//  szervoPszabalyozo((int16_t)Pszabalyozopozicio);				//szabalyozo PWM kezelojenek meghivasa
		 // szervoPszabalyozo((int16_t)filteredposition);				//szabalyozo PWM kezelojenek meghivasa

		  /*if(filteredvelocity!=0)
			  szervoPDszabalyozo(filteredposition, filteredvelocity);*/
		  //szervoPDszabalyozo(filteredposition, 1000);

		 /*send32bitdecimal_to_uart(&huart2,&filteredposition,10000);
		  HAL_UART_Transmit(&huart2,&tab, sizeof(uint8_t), 100000);
		  send8bitdecimal_to_uart(&huart2, &line_count, 1000);

		  HAL_UART_Transmit(&huart2,&endline, sizeof(uint8_t), 100000);
		  HAL_UART_Transmit(&huart2,&CR, sizeof(uint8_t), 100000);*/

		  /*line_register1=0;
		  line_register2=0;
		  line_register3=0;
		  line_count=0;
		  i=0;*/
	  //}

	  //while(!adcwaitdone);
	  /*TCRT:280usec varakozas vege---------------------------------------------------------------------*/
	  //HAL_TIM_Base_Stop_IT(&htim6);

	  //ADC inditasa, majd varakozas a konverzio vegere
	  /*adcvalid=false;
	  HAL_ADC_Start_DMA(&hadc1, (uint32_t*) adcmeasuredvalues, 3);
	  while (!adcvalid);*/

	  //mert ADC ertekek eltarolasa
	  /*adcvalregister1[i]=adcmeasuredvalues[0];
	  adcvalregister2[i]=adcmeasuredvalues[1];
	  adcvalregister3[i]=adcmeasuredvalues[2];
	  if(i==4)
		  adcvalregister3[4]=adcvalregister3[4]-300; //20. TCRT kicsit erosebb, a zajt jobban athozza----------------------
*/

	  //Az ADC ertekek thresholdozasa: a minimalis szint alatti ertekeket nem vesszuk figyelembe i 0tol 7ig fut
	  //line register: 3 sima 8 bites tarolo, melyben taroljuk, hogy hol latunk vonalat.
/*	  if (adcvalregister1[i]>threshold)
	  {
		  line_register1+=spidata;
		  line_count++;
	  	  adcfilterregister1[i]=adcvalregister1[i];
	  }
	  else
	  {
		  adcfilterregister1[i]=0;
	  }
	  if (adcvalregister2[i]>threshold)
	  {
		  line_register2+=spidata;
		  line_count++;
	  	  adcfilterregister2[i]=adcvalregister2[i];
	  }
	  else
	  {
		  adcfilterregister2[i]=0;
	  }
	  if (adcvalregister3[i]>threshold)
	  {
		  line_register3+=spidata;
		  line_count++;
	  	  adcfilterregister3[i]=adcvalregister3[i];
	  }
	  else
	  {
		  adcfilterregister3[i]=0;
	  }
	  i++;
*/
	  /*State machine (8 state) for SPI data (LED drivers output) and MUX signals (MUX for analog input)*/
/*	  if (spidata==0b10000000)
	  {
		  spidata=0b00000001;
		  HAL_GPIO_WritePin(MUX1_GPIO_Port,MUX1_Pin,GPIO_PIN_SET);
		  HAL_GPIO_WritePin(MUX2_GPIO_Port,MUX2_Pin,GPIO_PIN_SET);
		  HAL_GPIO_WritePin(MUX3_GPIO_Port,MUX3_Pin,GPIO_PIN_SET);

	  }
	  else if (spidata==0b00000001)
	  {
		  spidata=0b00000010;
		  HAL_GPIO_WritePin(MUX1_GPIO_Port,MUX1_Pin,GPIO_PIN_RESET);
		  HAL_GPIO_WritePin(MUX2_GPIO_Port,MUX2_Pin,GPIO_PIN_SET);
		  HAL_GPIO_WritePin(MUX3_GPIO_Port,MUX3_Pin,GPIO_PIN_SET);

	  }
	  else if (spidata==0b00000010)
	  {
		  spidata=0b00000100;
		  HAL_GPIO_WritePin(MUX1_GPIO_Port,MUX1_Pin,GPIO_PIN_SET);
		  HAL_GPIO_WritePin(MUX2_GPIO_Port,MUX2_Pin,GPIO_PIN_RESET);
		  HAL_GPIO_WritePin(MUX3_GPIO_Port,MUX3_Pin,GPIO_PIN_SET);

	  }
	  else if (spidata==0b00000100)
	  {
		  spidata=0b00001000;
		  HAL_GPIO_WritePin(MUX1_GPIO_Port,MUX1_Pin,GPIO_PIN_RESET);
		  HAL_GPIO_WritePin(MUX2_GPIO_Port,MUX2_Pin,GPIO_PIN_RESET);
		  HAL_GPIO_WritePin(MUX3_GPIO_Port,MUX3_Pin,GPIO_PIN_SET);

	  }
	  else if (spidata==0b00001000)
	  {
		  spidata=0b00010000;
		  HAL_GPIO_WritePin(MUX1_GPIO_Port,MUX1_Pin,GPIO_PIN_SET);
		  HAL_GPIO_WritePin(MUX2_GPIO_Port,MUX2_Pin,GPIO_PIN_SET);
		  HAL_GPIO_WritePin(MUX3_GPIO_Port,MUX3_Pin,GPIO_PIN_RESET);

	  }
	  else if (spidata==0b00010000)
	  {
		  spidata=0b00100000;
		  HAL_GPIO_WritePin(MUX1_GPIO_Port,MUX1_Pin,GPIO_PIN_RESET);
		  HAL_GPIO_WritePin(MUX2_GPIO_Port,MUX2_Pin,GPIO_PIN_SET);
		  HAL_GPIO_WritePin(MUX3_GPIO_Port,MUX3_Pin,GPIO_PIN_RESET);

	  }
	  else if (spidata==0b00100000)
	  {
		  spidata=0b01000000;
		  HAL_GPIO_WritePin(MUX1_GPIO_Port,MUX1_Pin,GPIO_PIN_SET);
		  HAL_GPIO_WritePin(MUX2_GPIO_Port,MUX2_Pin,GPIO_PIN_RESET);
		  HAL_GPIO_WritePin(MUX3_GPIO_Port,MUX3_Pin,GPIO_PIN_RESET);

	  }
	  else if (spidata==0b01000000)
	  {
		  spidata=0b10000000;
		  HAL_GPIO_WritePin(MUX1_GPIO_Port,MUX1_Pin,GPIO_PIN_RESET);
		  HAL_GPIO_WritePin(MUX2_GPIO_Port,MUX2_Pin,GPIO_PIN_RESET);
		  HAL_GPIO_WritePin(MUX3_GPIO_Port,MUX3_Pin,GPIO_PIN_RESET);

	  }

	 // HAL_Delay(10);*/
  }
  /* USER CODE END 3 */

}

/** System Clock Configuration
*/
void SystemClock_Config(void)
{

  RCC_OscInitTypeDef RCC_OscInitStruct;
  RCC_ClkInitTypeDef RCC_ClkInitStruct;

    /**Configure the main internal regulator output voltage
    */
  __HAL_RCC_PWR_CLK_ENABLE();

  __HAL_PWR_VOLTAGESCALING_CONFIG(PWR_REGULATOR_VOLTAGE_SCALE1);

    /**Initializes the CPU, AHB and APB busses clocks
    */
  RCC_OscInitStruct.OscillatorType = RCC_OSCILLATORTYPE_HSE;
  RCC_OscInitStruct.HSEState = RCC_HSE_BYPASS;
  RCC_OscInitStruct.PLL.PLLState = RCC_PLL_ON;
  RCC_OscInitStruct.PLL.PLLSource = RCC_PLLSOURCE_HSE;
  RCC_OscInitStruct.PLL.PLLM = 4;
  RCC_OscInitStruct.PLL.PLLN = 180;
  RCC_OscInitStruct.PLL.PLLP = RCC_PLLP_DIV2;
  RCC_OscInitStruct.PLL.PLLQ = 2;
  RCC_OscInitStruct.PLL.PLLR = 2;
  if (HAL_RCC_OscConfig(&RCC_OscInitStruct) != HAL_OK)
  {
    Error_Handler();
  }

    /**Activate the Over-Drive mode
    */
  if (HAL_PWREx_EnableOverDrive() != HAL_OK)
  {
    Error_Handler();
  }

    /**Initializes the CPU, AHB and APB busses clocks
    */
  RCC_ClkInitStruct.ClockType = RCC_CLOCKTYPE_HCLK|RCC_CLOCKTYPE_SYSCLK
                              |RCC_CLOCKTYPE_PCLK1|RCC_CLOCKTYPE_PCLK2;
  RCC_ClkInitStruct.SYSCLKSource = RCC_SYSCLKSOURCE_PLLCLK;
  RCC_ClkInitStruct.AHBCLKDivider = RCC_SYSCLK_DIV1;
  RCC_ClkInitStruct.APB1CLKDivider = RCC_HCLK_DIV4;
  RCC_ClkInitStruct.APB2CLKDivider = RCC_HCLK_DIV2;

  if (HAL_RCC_ClockConfig(&RCC_ClkInitStruct, FLASH_LATENCY_5) != HAL_OK)
  {
    Error_Handler();
  }

    /**Configure the Systick interrupt time
    */
  HAL_SYSTICK_Config(HAL_RCC_GetHCLKFreq()/1000);

    /**Configure the Systick
    */
  HAL_SYSTICK_CLKSourceConfig(SYSTICK_CLKSOURCE_HCLK);

  /* SysTick_IRQn interrupt configuration */
  HAL_NVIC_SetPriority(SysTick_IRQn, 0, 0);
}

/* USER CODE BEGIN 4 */

/*Converts 8bit binary number to 8 character (e.g.: 00010001), and sends on UART*/
/*Warning! Reihenfolge ist umgekehrt!*/
/*Every current LSB bit is checked with %2, and whole number is shifted with /2 */
uint8_t send8bit_to_uart(UART_HandleTypeDef* huart, uint8_t* data,uint32_t Timeout)
{
	uint8_t data2 = *data;
	uint8_t txbyte;
	for (int i=0; i<8; i++)
	{
		if (data2%2)
			txbyte=49;
		else
			txbyte=48;
		HAL_UART_Transmit(huart, &txbyte, sizeof(txbyte), Timeout);
		data2=data2/2;
	}
	return 0;
}

/*Converts 32bit decimal number to 10 character and sends on UART*/
/*Character order now is right(good)*/
/*Checks every MSB, substarct it from the number and goes for the next digit*/
uint8_t send32bitdecimal_to_uart(UART_HandleTypeDef* huart, uint32_t* data,uint32_t Timeout)
{
	uint32_t data2 = *data;
	uint32_t datacopy;
	uint32_t decimals;
	uint8_t txbyte;
	uint8_t issent=0;
	for (int i=10; i>0; i--)
	{
		datacopy = data2;
		decimals=1;
		for (int j=i-1; j>0; j--)
		{
			datacopy=datacopy/10;
			decimals = decimals*10;
		}
		data2 -= datacopy*decimals;
		txbyte = (uint8_t) (datacopy+48);

		if(datacopy) //send only if not the zeros before the number
			issent=1;
		if(issent)
			HAL_UART_Transmit(huart, &txbyte, sizeof(txbyte), Timeout);
	}
	return 0;
}

uint8_t send16bitdecimal_to_uart(UART_HandleTypeDef* huart, uint16_t* data,uint32_t Timeout)
{
	uint16_t data2 = *data;
	uint16_t datacopy;
	uint32_t decimals;
	uint8_t txbyte;
	uint8_t issent=0;
	uint8_t space=32;
	for (int i=5; i>0; i--)
	{
		datacopy = data2;
		decimals=1;
		for (int j=i-1; j>0; j--)
		{
			datacopy=datacopy/10;
			decimals = decimals*10;
		}
		data2 -= datacopy*decimals;
		txbyte = (uint8_t) (datacopy+48);

		if(datacopy) //send spaces if zeros before the number
			issent=1;
		if(issent)
			HAL_UART_Transmit(huart, &txbyte, sizeof(txbyte), Timeout);
		else
			HAL_UART_Transmit(huart, &space, sizeof(txbyte), Timeout);
	}
	return 0;
}

uint8_t send8bitdecimal_to_uart(UART_HandleTypeDef* huart, uint8_t* data,uint32_t Timeout)
{
	uint8_t data2 = *data;
	uint8_t datacopy;
	uint32_t decimals;
	uint8_t txbyte;
	uint8_t issent=0;
	uint8_t space=32;
	for (int i=3; i>0; i--)
	{
		datacopy = data2;
		decimals=1;
		for (int j=i-1; j>0; j--)
		{
			datacopy=datacopy/10;
			decimals = decimals*10;
		}
		data2 -= datacopy*decimals;
		txbyte = (uint8_t) (datacopy+48);

		if(datacopy) //send spaces if zeros before the number
			issent=1;
		if(issent)
			HAL_UART_Transmit(huart, &txbyte, sizeof(txbyte), Timeout);
		else
			HAL_UART_Transmit(huart, &space, sizeof(txbyte), Timeout);
	}
	return 0;
}

uint8_t sendadcvals_to_uart(UART_HandleTypeDef* huart, uint16_t* data1,uint16_t* data2, uint16_t* data3,uint32_t Timeout)
{
	uint8_t space=32;
	uint16_t* pdata;
	uint8_t endline=10;
	uint8_t CR=13;
	for (int i=0; i<3; i++)
	{
		if(i==0)
			pdata=data1;
		else if (i==1)
			pdata=data2;
		else if(i==2)
			pdata=data3;
		for (int j=0; j<8; j++)
		{
			send16bitdecimal_to_uart(huart, &(pdata[j]), Timeout);
			HAL_UART_Transmit(huart, &space, sizeof(uint8_t), Timeout);
		}
	}
	HAL_UART_Transmit(&huart2,&endline, sizeof(uint8_t), 100000);
	HAL_UART_Transmit(&huart2,&CR, sizeof(uint8_t), 100000);
	return 0;
}
uint8_t sendlineregisters_to_uart(UART_HandleTypeDef* huart, uint8_t* data1,uint8_t* data2, uint8_t* data3,uint32_t Timeout)
{
	uint8_t endline=10;
	uint8_t CR=13;
	send8bit_to_uart(huart,data1,Timeout);
	send8bit_to_uart(huart,data2,Timeout);
	send8bit_to_uart(huart,data3,Timeout);
	HAL_UART_Transmit(&huart2,&endline, sizeof(uint8_t), 100000);
	HAL_UART_Transmit(&huart2,&CR, sizeof(uint8_t), 100000);
	return 0;
}
uint32_t getposition(uint32_t* positionreg, uint16_t* adcfiltervals1, uint16_t* adcfiltervals2, uint16_t* adcfiltervals3)
{
	uint32_t weight=0;
	uint16_t* pdata;
	*positionreg=0;
	for (int i=0; i<3; i++)
	{
		if(i==0)
			pdata=adcfiltervals1;
		else if (i==1)
			pdata=adcfiltervals2;
		else if(i==2)
			pdata=adcfiltervals3;
		for(int j=1; j<9; j++)
		{
			*positionreg=*positionreg+(pdata[j-1]*100*((i*8)+j)); //*100: for a bigger resoltuion (at dividing data would be lost)
			weight+=pdata[j-1];
		}

	}
	*positionreg= *positionreg/weight;
	return 0;
}
void initWMAfilterarray()
{
	for(int i=0; i<FILTER_DEPTH; i++)
			WMAfilterarray[i]=1200;

}

void medianfilterW3(uint16_t* data1,uint16_t* data2, uint16_t* data3)
{
	uint16_t data[24];
	uint16_t* pdata;
	uint16_t bigger;
	uint16_t smaller;
	uint16_t middle;
	uint16_t window[3] = {0,0,0};
	int i;
	//Make one big array from 3 small
	for (i=0; i<3; i++)
		{
			if(i==0)
				pdata=data1;
			else if (i==1)
				pdata=data2;
			else if(i==2)
				pdata=data3;
			for(int j=0; j<8; j++)
			{
				data[i*8+j]=pdata[j];
			}

		}
	//Go from index 1 to 22
	for(i=1; i<23; i++)
	{
		window[0]=data[i-1];
		window[1]=data[i];
		window[2]=data[i+1];
		//Sort
		if(window[0]>window[1])
		{
			bigger=window[0];
			smaller=window[1];
		}
		else
		{
			bigger=window[1];
			smaller=window[0];
		}
		if(window[2]>bigger)
			middle=bigger;
		else if(window[2]>smaller)
			middle=window[2];
		else
			middle=smaller;
		//write back
		if((i/8)==0)
			data1[i%8]=middle;
		else if ((i/8)==1)
			data2[i%8]=middle;
		else
			data3[i%8]=middle;
	}
}

uint8_t handleWMAfilter(uint32_t* filteredposition, uint32_t* newelement) //put a new element into the FIFO, and calculate the new average (WeightedMovingAverage)
{
	*filteredposition=0;
	uint32_t coeffsum=0;
	for(int i=0; i<FILTER_DEPTH-1; i++)
	{
		WMAfilterarray[i]=WMAfilterarray[i+1];
		*filteredposition+=WMAfilterarray[i]*(i+1);
		coeffsum+=(i+1);
	}
	WMAfilterarray[FILTER_DEPTH-1]=*newelement;
	*filteredposition+=WMAfilterarray[FILTER_DEPTH-1]*(FILTER_DEPTH);
	coeffsum+=(FILTER_DEPTH);
	*filteredposition=*filteredposition/coeffsum;

	return 0;
}

void WMAfilter(int32_t* filteredval, int32_t* newelement, int32_t* array, uint32_t filter_depth)
{
	*filteredval=0;
	int32_t coeffsum=0;

	for(int i=0; i<filter_depth-1; i++)
	{
		array[i]=array[i+1];
		*filteredval=*filteredval+array[i]*(i+1);
		coeffsum+=(i+1);
	}
	array[filter_depth-1]=*newelement;
	*filteredval=*filteredval+array[filter_depth-1]*(filter_depth);
	coeffsum+=(filter_depth);
	*filteredval=*filteredval/coeffsum;
}

uint8_t getlinetype(uint8_t* linetype, uint16_t* adcvals1, uint16_t* adcvals2, uint16_t* adcvals3, uint16_t* threshold)
{
	bool isline=false;
	bool islineprev=false;
	uint8_t edgenumber=0;
	uint16_t* pdata;
	static uint32_t encodervalue0;		//encoder ertek a vonal-objektum elejen
 	uint32_t encodervalue1=0;				//koztes encoder ertek
	static uint8_t state=NORMAL;
	static bool object_observe=false;
	static uint8_t end_fast_counter=0;  //Figyeljuk hohy hany lassito szakasz van. ha 5, megallunk
	uint8_t tab=9;

	if (end_fast_counter==2)
		sebessegto(0);

	for (int i=0; i<3; i++)
	{
		if(i==0)
			pdata=adcvals1;
		else if (i==1)
			pdata=adcvals2;
		else if(i==2)
			pdata=adcvals3;
		for(int j=1; j<9; j++)
		{
			if(pdata[j-1]>(*threshold))
			{
				isline=true;
			}
			else
			{
				isline=false;
			}
			if(isline^islineprev)
			{
				edgenumber++;
			}
			islineprev=isline;
		}
	}
	if(edgenumber==0)
		*linetype=NOLINE;
	else if(edgenumber==1 || edgenumber==2)
		*linetype=ONELINE;
	else if(edgenumber==3 || edgenumber==4)
		*linetype=TWOLINE;
	else if(edgenumber==5 || edgenumber==6)
		*linetype=THREELINE;
	else
		*linetype=LINERROR;

	/*send8bitdecimal_to_uart(&huart4, linetype, 10000);
	HAL_UART_Transmit(&huart4, &tab, sizeof(uint8_t), 1000);*/
	//Gyorsito, lassitoszakasz erzekeles
	//Tipp: object observe valtozo nem kell: true if state!=NORMAL, else false
	//Mok:

	//Mok vege
	/*if(*linetype==TWOLINE && velocity_state==FAST)
	{
		encodervalue0=HAL_TIM_ReadCapturedValue(&htim2, TIM_CHANNEL_1);
		sebessegto(SEB_LASSU);
		velocity_state=SLOW;
		state=END_FAST;
		setPD(PD_SLOW);

	}*/

	if (*linetype==THREELINE)
	{
		if(object_observe==false) //Valamelyik kezdete, nem tudni mi
		{
			object_observe=true;
			state=UNKNOWN;
			encodervalue0=HAL_TIM_ReadCapturedValue(&htim2, TIM_CHANNEL_1);
		}
		if(object_observe==true)
		{
			encodervalue1=HAL_TIM_ReadCapturedValue(&htim2, TIM_CHANNEL_1);

			if(state==ONESTRIPE && encodervalue1-encodervalue0 > 200 && encodervalue1-encodervalue0 < 817) //Ha 1 kis stripeot lattunk, akkor gyanus hogy gyorsito, itt megnezzuk, hogy tenyleg az e (van e kb ugyanakkor kihagyas a kovi stripeig)
			{
				state=START_FAST;
				sebessegto((int32_t) SEB_GYORS);
				velocity_state=FAST;
				setPD(PD_FAST);//gyors parameterek
				encodervalue0=encodervalue1; //encodervalue0-ba kerül az aktualis pozicio, a kovetkezo stripe elejenel ezzel szamolunk

			}
			else if((state== UNKNOWN && encodervalue1-encodervalue0 > 1500))//Ha 800=? cm (2000=~27cm) -ota van 3 vonal -> lassito
			{
				state = END_FAST;
				end_fast_counter++;
				sebessegto(((int32_t)SEB_LASSU)-10000);
				velocity_state=SLOW;
				//setPD(PD_SLOW); //lassu parameterek
			}
			else if(state==START_FAST)
			{
				encodervalue1=HAL_TIM_ReadCapturedValue(&htim2, TIM_CHANNEL_1);
				encodervalue0=encodervalue1; //encodervalue0-ba kerül az aktualis pozicio, a kovetkezo stripe elejenel ezzel szamolunk
			}
			else if(state==END_FAST && (filteredvelocity < SEB_LASSU-400))
			{
				sebessegto((int32_t)SEB_LASSU);
			}
		}

	}
	if(*linetype==ONELINE && object_observe==true)
	{
		if(state == END_FAST) //Ha lassito volt, akkor vege van az objektumnak 1 vonalnal
			{
				object_observe=false;
				state = NORMAL;
				setPD(PD_SLOW); //lassu parameterek
				sebessegto((int32_t)SEB_LASSU+450);
				//sebessegto(0);//mOOOOK
			}
		else if(state == UNKNOWN) //Ha megfigyeljuk, de semmit nem tudunk (eddig 3 vonal volt), most pedig egy vonal -> valszeg gyorsito
		{
			encodervalue1=HAL_TIM_ReadCapturedValue(&htim2, TIM_CHANNEL_1);
			if (encodervalue1-encodervalue0 > 200 &&  encodervalue1-encodervalue0 < 817) //Ha 1 stripe-nyi (50-110mm) a 3 vonalas korabbi resz -> valszeg gyorsito
			{
				encodervalue0=encodervalue1; //encodervalue0-ba kerül az aktualis pozicio, a kovetkezo stripe elejenel ezzel szamolunk
				state=ONESTRIPE;
			}
			else //Ha tul rovid a csik, vagy tul nagy (bar utobbi kb lehetetlen)
			{
				state=NORMAL;
				object_observe=false;
			}
		}
		else if(state == START_FAST) //gyorsito szakasz objektum vege
		{ //Ha eleg sokaig csak egy vonal van, akkor vege van.
		//Ha diff > 16cm -> akkor vege
			encodervalue1=HAL_TIM_ReadCapturedValue(&htim2, TIM_CHANNEL_1);
			if(encodervalue1-encodervalue0 > 1184)
			{
				///ha tul hamar adjuk ki a gyorsitast, akkor itt is lehet adni, ha kesobb szerenenk (csikozott vonal vege itt)
				state=NORMAL;
				object_observe=false;
			}
		}
	}

/*	send32bitdecimal_to_uart(&huart4, &encodervalue0, 10000);
	HAL_UART_Transmit(&huart4, &tab, sizeof(uint8_t), 10000);
	send32bitdecimal_to_uart(&huart4, &encodervalue1, 10000);
	HAL_UART_Transmit(&huart4, &tab, sizeof(uint8_t), 10000);
	send8bitdecimal_to_uart(&huart4, &state, 10000);*/

	return *linetype;
}

void szervoPszabalyozo(int16_t vonalpozicio)
{
	  TIM_OC_InitTypeDef sConfigOC;
	  int16_t servo_pulse;
	  servo_pulse = -((784*vonalpozicio*KC)/575)+(211631/23);
	  //servo_pulse = (-30.1*vonalpozicio)*KC+6707;
	  if (servo_pulse>9000)
		  servo_pulse=9000;
	  if (servo_pulse<6000)
		  servo_pulse=6000;
//__HAL_TIM_SET_COMPARE()
	  	sConfigOC.OCMode = TIM_OCMODE_PWM1;
		sConfigOC.Pulse = servo_pulse;
		sConfigOC.OCPolarity = TIM_OCPOLARITY_HIGH;
		sConfigOC.OCNPolarity = TIM_OCNPOLARITY_HIGH;
		sConfigOC.OCFastMode = TIM_OCFAST_DISABLE;
		sConfigOC.OCIdleState = TIM_OCIDLESTATE_RESET;
		sConfigOC.OCNIdleState = TIM_OCNIDLESTATE_RESET;
		if (HAL_TIM_PWM_ConfigChannel(&htim1, &sConfigOC, TIM_CHANNEL_2) != HAL_OK)
		{
		  Error_Handler();
		}
		HAL_TIMEx_PWMN_Start(&htim1, TIM_CHANNEL_2);
	 // MX_TIM1_Init(servo_pulse);
	//  HAL_TIMEx_PWMN_Start(&htim1, TIM_CHANNEL_2);
}
void szervoPDszabalyozo(uint32_t vonalpozicio, int32_t sebesseg)
{
	//szabalyzobol jovo u:beavatkozojel mertekegysege [rad], ertektartomanya: [-0,34;+0,34] (-20;+20 fok)
	//u szamitasahoz hasznaljuk a sebesseget[mm/s], es a poziciot [mm]
	//A vonalpoziciot is at kell szamolni mm-be [-70,70], jelenleg [100,2400] az ertektartomanya
	//A szervoba [SERVO_BAL,SERVO_JOBB] ertektartomanyu PWM-et kell beadni.

	uint8_t endline = 10;
	uint8_t CR = 13;
	static float elozopozicioMM = 0.0;
	float pozicioMM;
	float szabalyozokimenetRAD;
	float pulsePWM;
	uint32_t uintpulsePWM;
	//TIM_OC_InitTypeDef sConfigOC;

	pozicioMM = ((float)vonalpozicio-100.0)*140.0/2300.0-70.0;
	szabalyozokimenetRAD = ( (1.0 + (( TD_COEFF*L_FROM_ROTATION_AXIS*TSRECIP) / ((float)sebesseg*10.0)) )*pozicioMM - ((TD_COEFF*L_FROM_ROTATION_AXIS*TSRECIP) / ((float)sebesseg*10.0))*elozopozicioMM ) *KD/L_FROM_ROTATION_AXIS/10.0;
	//szabalyozokimenetRAD = ( (3.0 + (( TD_COEFF*L_FROM_ROTATION_AXIS*TSRECIP) / ((float)sebesseg*10.0)) )*pozicioMM - ((TD_COEFF*L_FROM_ROTATION_AXIS*TSRECIP) / ((float)sebesseg*10.0))*elozopozicioMM ) *KD/L_FROM_ROTATION_AXIS/10.0;

	//Mok, hogy szelesebb legyen a tartomany, amin mozgat, mert most statikusan nem mozgat balra rendesen
	if (szabalyozokimenetRAD < 0)
		szabalyozokimenetRAD=szabalyozokimenetRAD*1.35;

	pulsePWM = (szabalyozokimenetRAD + 0.34)*((SERVO_JOBB-SERVO_BAL)/0.68)+SERVO_BAL;

	if (pulsePWM > (float)SERVO_JOBB-30)
		pulsePWM = (float)SERVO_JOBB-30;
	if (pulsePWM < (float)SERVO_BAL+30)
		pulsePWM = (float)SERVO_BAL+30;
  	uintpulsePWM = (uint32_t) pulsePWM;

	/*send32bitdecimal_to_uart(&huart2, &uintpulsePWM, 10000 );
	HAL_UART_Transmit(&huart2,&endline, sizeof(uint8_t), 100000);
	HAL_UART_Transmit(&huart2,&CR, sizeof(uint8_t), 100000);*/

	__HAL_TIM_SET_COMPARE(&htim1,TIM_CHANNEL_2 , (uint32_t) pulsePWM);
	elozopozicioMM=pozicioMM;
}
void setPD(uint32_t PD_type)
{
	if(PD_type==PD_SLOW)
	{
		KD=KD_SLOW;
		TD_COEFF=TD_COEFF_SLOW;
	}
	else if(PD_type==PD_FAST)
	{
		KD=KD_FAST;
		TD_COEFF=TD_COEFF_FAST;
	}

}

//TODO:negativ ertekek is legyenek jok

void sebessegto(int32_t mmpersec)
{
	//Atkonvertalja a mm/s erteket PWM Compare ertekre
	// meres: 1700 mm/s-re volt 7470 pulse a PWM, ez alapjan allitjuk be a "kovertalasi" egyenest
	int32_t motorpulsePWM;
	motorpulsePWM = (mmpersec*(MOTOR_1P7MPERS-MOTOR_0MPERS))/1700 + MOTOR_0MPERS;
	//vedelem: ne legyen tul nagy sebesseg negativ iranyba
	if (motorpulsePWM < 3692)
		motorpulsePWM=3692;
	//vedelem: max sebesseg
	if(motorpulsePWM > 10150) //volt: 7500: Korulbelul 2m/s , korabban 7326 volt
		motorpulsePWM = 10150;

	__HAL_TIM_SET_COMPARE(&htim8, TIM_CHANNEL_3, (motorpulsePWM)); //
	//send32bitdecimal_to_uart(&huart4, &motorpulsePWM, 10000);
	//send32bitdecimal_to_uart(&huart2, &motorpulsePWM, 10000);
}
void dili_telemetria(UART_HandleTypeDef *huart, uint32_t linestatus, uint32_t velocitystatus,uint32_t position, uint32_t timestamp, int32_t x, int32_t v, int32_t a,  uint32_t Timeout)
{
		uint32_t state[8];
		state[0] = reverse_byte_order_32(sizeof(state));
		state[1] = reverse_byte_order_32(linestatus);
		state[2] = reverse_byte_order_32(velocitystatus);
		state[3] = reverse_byte_order_32(position);
		state[4] = reverse_byte_order_32(timestamp);
		state[5] = reverse_byte_order_32(x);
		state[6] = reverse_byte_order_32(v);
		state[7] = reverse_byte_order_32(a);

		HAL_UART_Transmit(huart, (uint8_t*) state, sizeof(state), Timeout);
}

uint32_t reverse_byte_order_32(uint32_t value)
{
	uint8_t lolo = (value >> 0) & 0xFF;
	uint8_t lohi = (value >> 8) & 0xFF;
	uint8_t hilo = (value >> 16) & 0xFF;
	uint8_t hihi = (value >> 24) & 0xFF;
	return (hihi << 0) | (hilo << 8) | (lohi << 16) | (lolo << 24);
}
void handle_QT_command(uint32_t* pData)
{
	switch (pData[0]){
		case 1 :  	//STOP
			sebessegto(0);
			break;
		case 2 :	//Gyorsitas
			SEB_LASSU+=100;
			SEB_GYORS+=100;
			break;
		case 3 : 	//Lassitas
			SEB_LASSU-=100;
			SEB_GYORS-=100;
			break;
		case 4 :	//Set Td
			TD_COEFF=pData[1];
			break;
		case 5 :	//Set Kd
			KD=pData[1];
			break;
		default :;
	}
}

/* USER CODE END 4 */

void Error_Handler(void)
{
  while(1)
  {
  }
}

/************************ (C) COPYRIGHT STMicroelectronics *****END OF FILE****/
